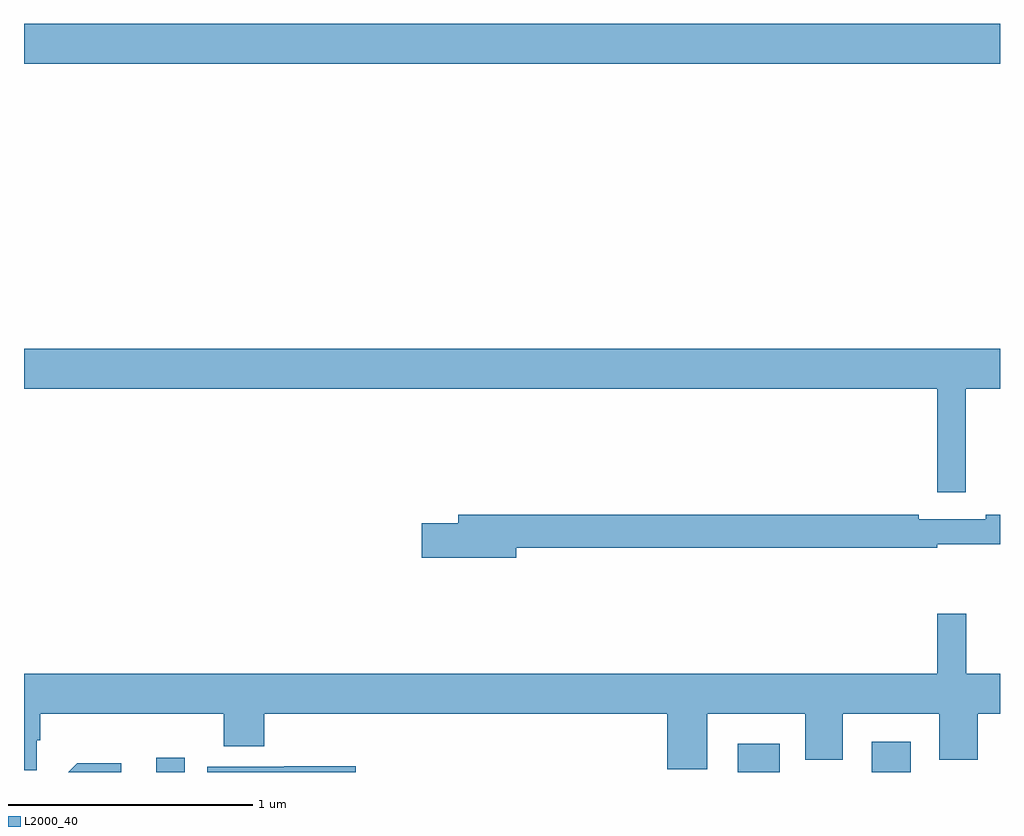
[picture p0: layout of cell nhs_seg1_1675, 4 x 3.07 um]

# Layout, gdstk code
import gdstk
lib = gdstk.Library(unit=1e-6, precision=1e-09)
def R(c, l, rs):  # rectangles x0, y0, x1, y1
    for r in rs: c.add(gdstk.rectangle(r[:2], r[2:], *l))
def P(c, l, *ps):  # polygons
    for p in ps: c.add(gdstk.Polygon(p, *l))
L2000_40 = (2000, 40)

nhs_seg1_1675 = lib.new_cell('nhs_seg1_1675')
R(nhs_seg1_1675, L2000_40, [(203.543,510.199,203.658,510.259), (205.925,510.199,206.098,510.316), (206.474,510.199,206.635,510.325), (203,513.104,207,513.268)])
P(nhs_seg1_1675, L2000_40, [(206.86,511.772),(207,511.772),(207,511.936),(203,511.936),(203,511.772),(206.743,511.772),(206.743,511.347),(206.86,511.347)],
  [(205.018,511.12),(206.742,511.12),(206.742,511.135),(207,511.135),(207,511.256),(206.942,511.256),(206.942,511.236),(206.666,511.236),(206.666,511.256),(204.779,511.256),(204.779,511.22),(204.63,511.22),(204.63,511.078),(205.018,511.078)],
  [(203.052,510.331),(203.066,510.331),(203.066,510.44),(203.819,510.44),(203.819,510.307),(203.984,510.307),(203.984,510.44),(205.637,510.44),(205.637,510.213),(205.801,510.213),(205.801,510.44),(206.201,510.44),(206.201,510.251),(206.356,510.251),(206.356,510.44),(206.75,510.44),(206.75,510.251),(206.908,510.251),(206.908,510.44),(207,510.44),(207,510.604),(206.861,510.604),(206.861,510.85),(206.743,510.85),(206.743,510.604),(203,510.604),(203,510.208),(203.052,510.208)],
  [(203.398,510.236),(203.219,510.236),(203.182,510.199),(203.398,510.199)],
  [(204.359,510.224),(204.067,510.224),(204.067,510.222),(203.751,510.222),(203.751,510.199),(204.359,510.199)])

lib.write_gds('nhs_seg1_1675.gds')
